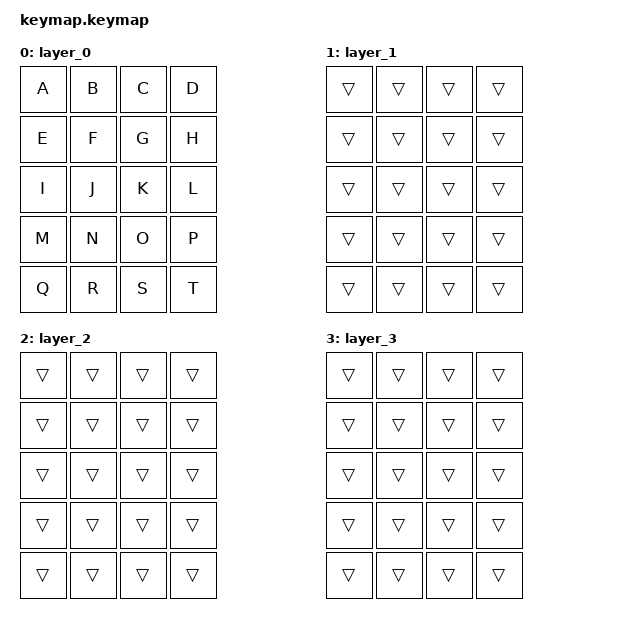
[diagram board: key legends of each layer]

#include <behaviors.dtsi>
#include <dt-bindings/zmk/keys.h>

/ {
    keymap {
        compatible = "zmk,keymap";

        layer_0 {
            bindings = <
                &kp A &kp B &kp C &kp D
                &kp E &kp F &kp G &kp H
                &kp I &kp J &kp K &kp L
                &kp M &kp N &kp O &kp P
                &kp Q &kp R &kp S &kp T
            >;
        };

        layer_1 {
            bindings = <
                &trans &trans &trans &trans
                &trans &trans &trans &trans
                &trans &trans &trans &trans
                &trans &trans &trans &trans
                &trans &trans &trans &trans
            >;
        };

        layer_2 {
            bindings = <
                &trans &trans &trans &trans
                &trans &trans &trans &trans
                &trans &trans &trans &trans
                &trans &trans &trans &trans
                &trans &trans &trans &trans
            >;
        };

        layer_3 {
            bindings = <
                &trans &trans &trans &trans
                &trans &trans &trans &trans
                &trans &trans &trans &trans
                &trans &trans &trans &trans
                &trans &trans &trans &trans
            >;
        };
    };
};
